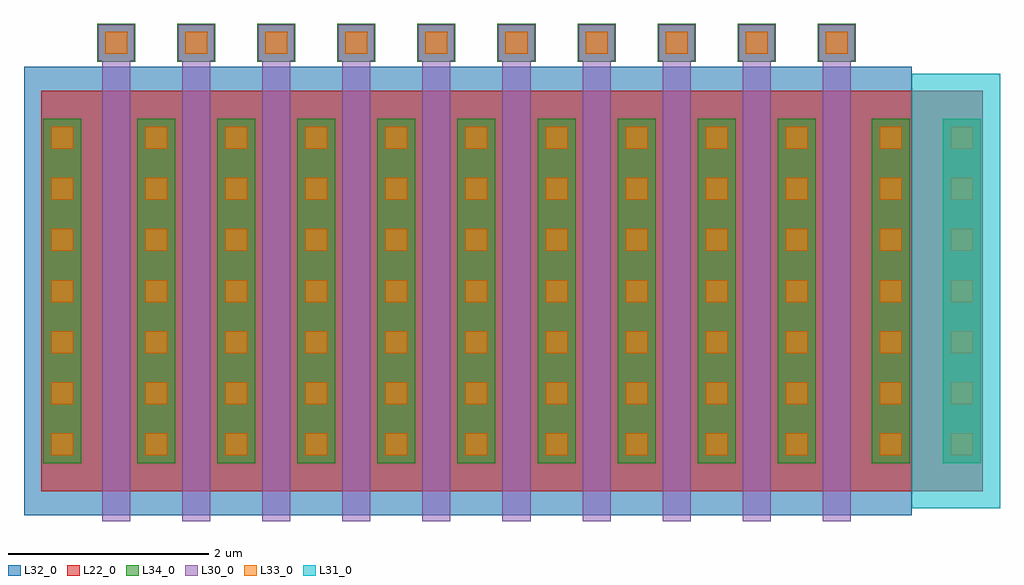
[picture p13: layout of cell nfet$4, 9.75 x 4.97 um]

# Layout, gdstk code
import gdstk
lib = gdstk.Library(unit=1e-6, precision=1e-09)
def R(c, l, rs):  # rectangles x0, y0, x1, y1
    for r in rs: c.add(gdstk.rectangle(r[:2], r[2:], *l))
def A(c, l, x, y, w, h, nx, ny, dx, dy):  # array of equal rectangles
    R(c, l, [(x+i*dx, y+j*dy, x+i*dx+w, y+j*dy+h) for i in range(nx) for j in range(ny)])
L22_0 = (22, 0)
L30_0 = (30, 0)
L31_0 = (31, 0)
L32_0 = (32, 0)
L33_0 = (33, 0)
L34_0 = (34, 0)

nfet_4 = lib.new_cell('nfet$4')
R(nfet_4, L22_0, [(-0.42,0,0,4), (0,0,7.86,4), (7.86,0,8.28,4), (8.28,0,8.99,4)])
A(nfet_4, L30_0, 0.19, -0.3, 0.28, 4.6, 10, 1, 0.8, 0)
A(nfet_4, L30_0, 0.15, 4.3, 0.36, 0.36, 10, 1, 0.8, 0)
R(nfet_4, L31_0, [(8.28,-0.17,9.16,4.17)])
R(nfet_4, L32_0, [(-0.59,-0.24,8.28,4.24)])
A(nfet_4, L33_0, -0.32, 0.36, 0.22, 0.22, 1, 7, 0, 0.51)
A(nfet_4, L33_0, 0.62, 0.36, 0.22, 0.22, 9, 7, 0.8, 0.51)
A(nfet_4, L33_0, 7.96, 0.36, 0.22, 0.22, 1, 7, 0, 0.51)
A(nfet_4, L33_0, 8.67, 0.36, 0.22, 0.22, 1, 7, 0, 0.51)
A(nfet_4, L33_0, 0.22, 4.37, 0.22, 0.22, 10, 1, 0.8, 0)
A(nfet_4, L34_0, 0.54, 0.28, 0.38, 3.44, 9, 1, 0.8, 0)
A(nfet_4, L34_0, 0.14, 4.29, 0.38, 0.38, 10, 1, 0.8, 0)
R(nfet_4, L34_0, [(-0.4,0.28,-0.02,3.72), (7.88,0.28,8.26,3.72), (8.59,0.28,8.97,3.72)])

lib.write_gds('nfet_4.gds')
